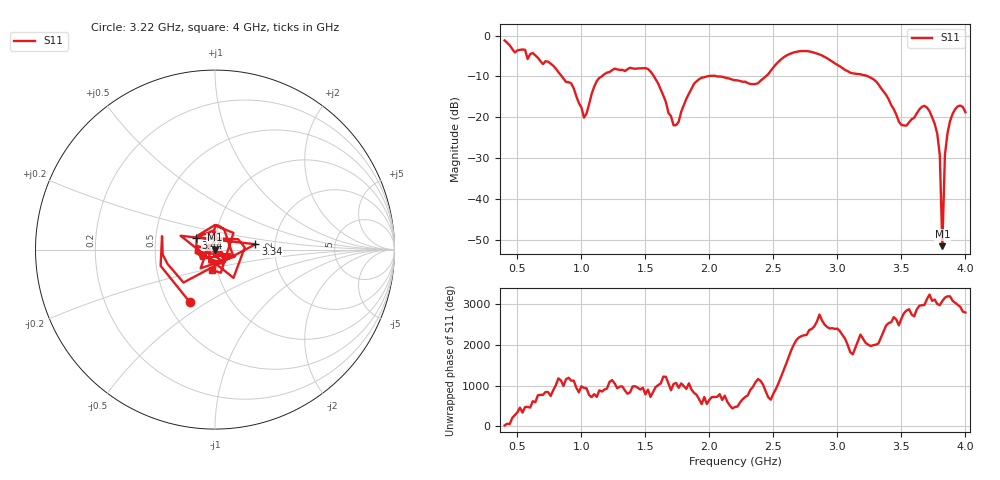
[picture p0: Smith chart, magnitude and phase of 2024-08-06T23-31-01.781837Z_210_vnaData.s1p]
!Created with skrf (http://scikit-rf.org).
# Hz S RI R 50.0
!freq ReS11 ImS11
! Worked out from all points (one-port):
!   181 points, 400 MHz to 4 GHz, reference 50 ohm
!   lowest |S11| = -51.6 dB at 3.82 GHz (marker M1), VSWR 1.01, Z = 49.7 - j0.0174 ohm
!   |S11| at or under -10 dB: 1.567 GHz to 1.984 GHz (417.7 MHz wide, 23.5 % of centre); 2.059 GHz to 2.44 GHz (381.5 MHz wide, 17 % of centre); 3.24 GHz to end of sweep (the widest 3 of 4)
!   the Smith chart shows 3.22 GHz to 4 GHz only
!   S11 on the Smith chart (normalised r, x): 3.22 GHz: 0.65, -0.42; 3.34 GHz: 1.58, +0.10; 3.44 GHz: 0.80, +0.11; 4 GHz: 0.95, -0.22
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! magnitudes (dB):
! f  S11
! 400 MHz  -1.2
! 860 MHz  -10.5
! 920 MHz  -11.7
! 1.02 GHz  -20.1
! 1.12 GHz  -11.1
! 1.3 GHz  -8.4
! 1.52 GHz  -8.2
! 1.6 GHz  -11.8
! 1.72 GHz  -22.0
! 1.76 GHz  -21.1
! 1.92 GHz  -10.7
! 2.2 GHz  -10.9
! 2.38 GHz  -11.7
! 2.66 GHz  -4.1
! 3.1 GHz  -9.1
! 3.22 GHz  -9.8
! 3.34 GHz  -12.9
! 3.44 GHz  -18.0
! 3.5 GHz  -21.9
! 3.56 GHz  -21.3
! 3.68 GHz  -17.2
! 3.76 GHz  -21.6
! 3.8 GHz  -29.2
! 3.82 GHz  -51.6
! 3.84 GHz  -29.3
! 3.86 GHz  -24.0
! 3.92 GHz  -18.0
! 4 GHz  -18.8
